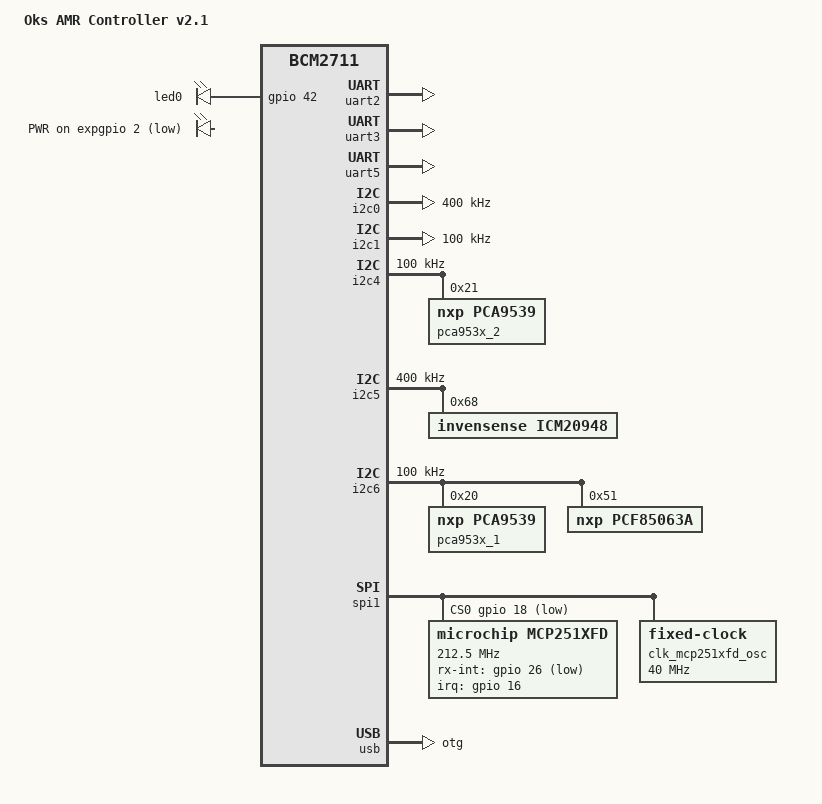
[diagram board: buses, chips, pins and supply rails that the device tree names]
// SPDX-License-Identifier: GPL-2.0
/dts-v1/;

#include "bcm2711-rpi-cm4.dtsi"
#include "bcm283x-rpi-usb-host.dtsi"

/ {
    model = "Oks AMR Controller v2.1";
    compatible = "oks,amr-controller-v2.1", "brcm,bcm2711";

    oks_board_version {
        compatible = "oks,board-version";
        version = "2.1";
    };

    leds {
        led-act {
            label = "led0";
            linux,default-trigger = "heartbeat";
            gpios = <&gpio 42 GPIO_ACTIVE_HIGH>;
            delay-on-us = <500000>;  /* 500ms on */
            delay-off-us = <1000000>; /* 1s off */
            status = "okay";
        };

        led-pwr {
            label = "PWR";
            gpios = <&expgpio 2 GPIO_ACTIVE_LOW>;
            default-state = "keep";
            linux,default-trigger = "default-on";
        };
    };

    pcie@7d500000 {
        status = "disabled";
    };

    aliases {
        serial0 = &uart1;
        serial1 = &uart2;
        serial2 = &uart3;
        serial3 = &uart5;
        i2c0 = &i2c0;
        i2c1 = &i2c1;
        i2c4 = &i2c4;
        i2c5 = &i2c5;
        i2c6 = &i2c6;
    };
};

&gpio {
    gpio-line-names = "UART2_TXD", "UART2_RXD", "I2C1_SDA", "I2C1_SCL",
                      "UART3_TXD", "UART3_RXD", "SPI_CAN_INT0", "DO",
                      "I2C4_SCL", "I2C4_SDA", "I2C5_SDA", "I2C5_SCL",
                      "UART5_TXD", "UART5_RXD", "UART0_TXD", "UART0_RXD",
                      "SPI_CAN_INT", "DI", "SPI1_CS0", "SPI1_MISO",
                      "SPI1_MOSI", "SPI1_SCLK", "I2C6_SCL", "I2C6_SDA",
                      "Not used", "Not used", "SPI_CAN_INT1", "DI";

    spi1_pins: spi1_pins {
        brcm,pins = <19 20 21>;
        brcm,function = <3>; /* alt4 */
    };

    spi1_cs_pins: spi1_cs_pins {
        brcm,pins = <18>;
        brcm,function = <1>; /* output */
    };

    i2c0_pins: i2c0 {
        brcm,pins = <44 45>;
        brcm,function = <BCM2835_FSEL_ALT1>;
        brcm,pull = <BCM2835_PUD_UP>;
    };

    i2c1_pins: i2c1 {
        brcm,pins = <2 3>;
        brcm,function = <BCM2835_FSEL_ALT0>;
        brcm,pull = <BCM2835_PUD_UP>;
    };

    i2c4_pins: i2c4 {
        brcm,pins = <8 9>;
        brcm,function = <BCM2835_FSEL_ALT5>;
        brcm,pull = <BCM2835_PUD_UP>;
    };

    i2c5_pins: i2c5 {
        brcm,pins = <10 11>;
        brcm,function = <BCM2835_FSEL_ALT5>;
        brcm,pull = <BCM2835_PUD_UP>;
    };

    i2c6_pins: i2c6 {
        brcm,pins = <22 23>;
        brcm,function = <BCM2835_FSEL_ALT5>;
        brcm,pull = <BCM2835_PUD_UP>;
    };

    uart0_pins: uart0_pins {
        brcm,pins = <32 33>;
        brcm,function = <BCM2835_FSEL_ALT3>;
        brcm,pull = <0 2>;
    };

    uart1_pins: uart1_pins {
        brcm,pins;
        brcm,function;
        brcm,pull;
    };

    uart2_pins: uart2_pins {
        brcm,pins = <0 1>;
        brcm,function = <BCM2835_FSEL_ALT4>;
        brcm,pull = <0 2>;
    };

    uart3_pins: uart3_pins {
        brcm,pins = <4 5>;
        brcm,function = <BCM2835_FSEL_ALT4>;
        brcm,pull = <0 2>;
    };

    uart4_pins: uart4_pins {
        brcm,pins = <8 9>;
        brcm,function = <BCM2835_FSEL_ALT4>;
        brcm,pull = <0 2>;
    };

    uart5_pins: uart5_pins {
        brcm,pins = <12 13>;
        brcm,function = <BCM2835_FSEL_ALT4>;
        brcm,pull = <0 2>;
    };
};

&uart2 {
    status = "okay";
    label = "rfid";
    pinctrl-names = "default";
    pinctrl-0 = <&uart2_pins>;
    linux,alias = "serial2";
    debug = "true";
};

&uart3 {
    status = "okay";
    label = "robot_connect";
    pinctrl-names = "default";
    pinctrl-0 = <&uart3_pins>;
    linux,alias = "serial3";
};

&uart5 {
    status = "okay";
    label = "bus_servo";
    status = "okay";
    label = "robot_connect";
    pinctrl-names = "default";
    pinctrl-0 = <&uart5_pins>;
    linux,alias = "serial5";
};

&i2c0 {
    status = "okay";
    pinctrl-names = "default";
    pinctrl-0 = <&i2c0_pins>;
    clock-frequency = <400000>;
};

&i2c1 {
    status = "okay";
    pinctrl-names = "default";
    pinctrl-0 = <&i2c1_pins>;
    clock-frequency = <100000>;
};

&i2c4 {
    status = "okay";
    pinctrl-names = "default";
    pinctrl-0 = <&i2c4_pins>;
    clock-frequency = <100000>;
};

&i2c5 {
    status = "okay";
    pinctrl-names = "default";
    pinctrl-0 = <&i2c5_pins>;
    clock-frequency = <400000>;
};

&i2c6 {
    status = "okay";
    pinctrl-names = "default";
    pinctrl-0 = <&i2c6_pins>;
    clock-frequency = <100000>;
};

&spi1 {
    /* needed to avoid dtc warning */
    #address-cells = <1>;
    #size-cells = <0>;
    pinctrl-names = "default";
    pinctrl-0 = <&spi1_pins &spi1_cs_pins>;
    cs-gpios = <&gpio 18 1>;
    status = "okay";
};

&usb {
    compatible = "brcm,bcm2835-usb";
    dr_mode = "otg";
    status = "okay";
};

&bt {
    status = "disabled";
};

&hdmi0 {
    status = "disabled";
};

&hdmi1 {
    status = "disabled";
};

&genet {
    status = "disabled";
};

&pixelvalve0 {
    status = "disabled";
};

&pixelvalve1 {
    status = "disabled";
};

&pixelvalve2 {
    status = "disabled";
};

&pixelvalve4 {
    status = "disabled";
};

&vc4 {
    status = "disabled";
};

&vec {
    status = "disabled";
};

&spi1 {
    mcp251xfd: mcp251xfd@0 {
        compatible = "microchip,mcp251xfd";
        reg = <0>;
        interrupt-parent = <&gpio>;
        interrupts = <16 IRQ_TYPE_LEVEL_LOW>;
        //* Rpi4 Broadcom,BCM2711 SPI parent-clk: 500000000Hz max  SPI-clk based on the errarta reference in driver is 212500000 Hz 85.00% 500000000 Hz 
        spi-max-frequency = <212500000>;
        microchip,rx-int-gpios = <&gpio 26 GPIO_ACTIVE_LOW>;
        clocks = <&clk_mcp251xfd_osc>;
    };

    clk_mcp251xfd_osc: mcp251xfd-osc {
        #clock-cells = <0>;
        compatible = "fixed-clock";
        clock-frequency = <40000000>;
    };
};

&i2c4 {
    pca953x_2: pca953x@21 {
        compatible = "nxp,pca9539";
        reg = <0x21>;
        gpio-controller;
        #gpio-cells = <2>;
        label = "pca953x_2";
        gpio-line-names = "PWR_WHEEL_EN_FR", "PWR_WHEEL_EN_FL", "PWR_WHEEL_EN_RR", "PWR_WHEEL_EN_RL", "RES1", "RES2", "RES3", "RES4", "LIFTER-SIG_EN_FR", "LIFTER-SIG_EN_FL", "LIFTER-SIG_EN_RR", "LIFTER-SIG_EN_RL", "RES5", "RES6", "RES7", "RES8";
        gpio-default-states = <0 0 0 0 0 0 0 0  0 0 0 0 0 0 0 0>;
    };
};

&i2c5 {
    icm20948: icm20948@68 {
        compatible = "invensense,icm20948";
        reg = <0x68>;
    };
};

&i2c6 {
    status = "okay";
    pinctrl-names = "default";
    pinctrl-0 = <&i2c6_pins>;
    clock-frequency = <100000>;

    pca953x_1: pca953x@20 {
        compatible = "nxp,pca9539";
        reg = <0x20>;
        gpio-controller;
        #gpio-cells = <2>;
        label = "pca953x_1";
        gpio-line-names = "LINE-FOLLOWER_FRONT-EN", "LINE-FOLLOWER_REAR-EN", "LINE-FOLLOWER_LEFT-EN", "LINE-FOLLOWER_RIGHT-EN", "COLLISION-SENSOR_FRONT-EN", "COLLISION-SENSOR_REAR-EN", "COLLISION-SENSOR_LEFT-EN", "COLLISION-SENSOR_RIGHT-EN", "WEIGHT-SENSOR_FR-EN", "WEIGHT-SENSOR_FL-EN", "WEIGHT-SENSOR_RR-EN", "WEIGHT-SENSOR_RL-EN", "LINE-FOLLOWER_PWR-EN", "COLLISION-SENSOR_PWR-EN", "WEIGHT-SENSOR_PWR-EN", "RES_TP10";
        gpio-default-states = <0 0 0 0 0 0 0 0  0 0 0 0 0 0 0 0>;
    };

    pcf85063a: rtc@51 {
        compatible = "nxp,pcf85063a";
        reg = <0x51>;
    };
};
